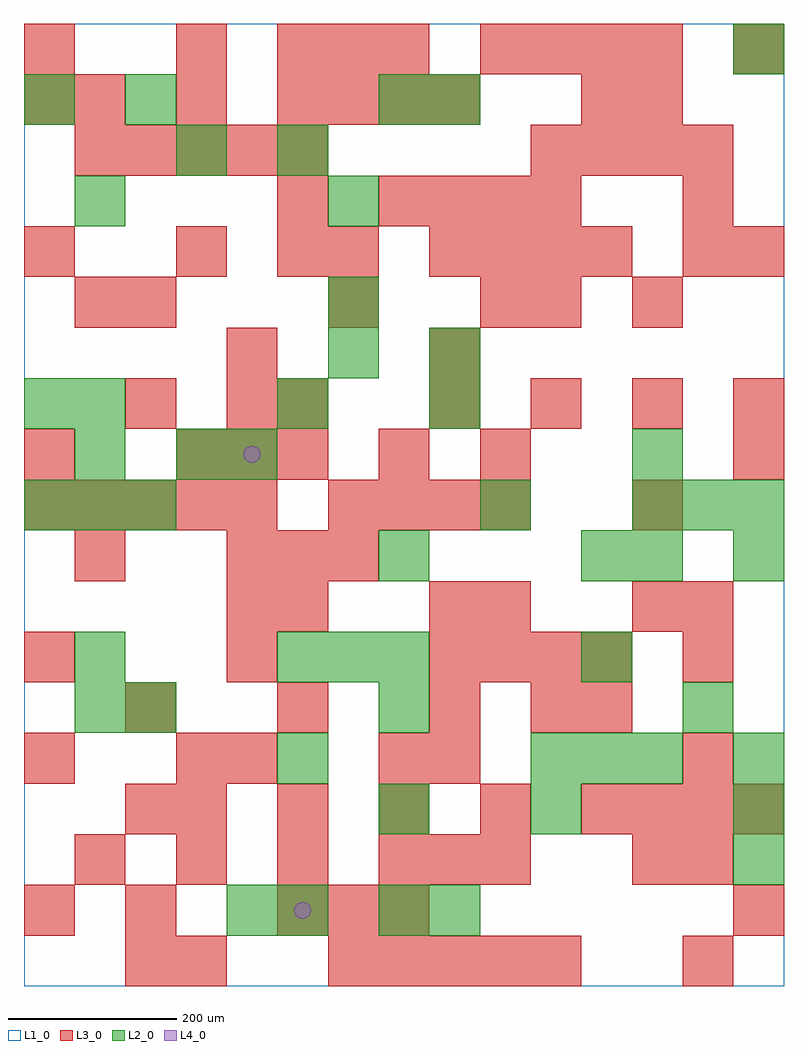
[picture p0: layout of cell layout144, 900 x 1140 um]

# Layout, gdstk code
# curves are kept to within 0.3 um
import gdstk
lib = gdstk.Library(unit=1e-6, precision=1e-09)
def R(c, l, rs):  # rectangles x0, y0, x1, y1
    for r in rs: c.add(gdstk.rectangle(r[:2], r[2:], *l))
def A(c, l, x, y, w, h, nx, ny, dx, dy):  # array of equal rectangles
    R(c, l, [(x+i*dx, y+j*dy, x+i*dx+w, y+j*dy+h) for i in range(nx) for j in range(ny)])
def P(c, l, *ps):  # polygons
    for p in ps: c.add(gdstk.Polygon(p, *l))
L1_0 = (1, 0)
L2_0 = (2, 0)
L3_0 = (3, 0)
L4_0 = (4, 0)

layout144 = lib.new_cell('layout144')
R(layout144, L1_0, [(0,0,900,1140)])
A(layout144, L2_0, 420, 60, 60, 60, 1, 3, 0, 120)
A(layout144, L2_0, 840, 120, 60, 60, 1, 3, 0, 60)
A(layout144, L2_0, 600, 240, 60, 60, 3, 1, 60, 0)
A(layout144, L2_0, 300, 360, 60, 60, 3, 1, 60, 0)
A(layout144, L2_0, 0, 540, 60, 60, 3, 1, 60, 0)
A(layout144, L2_0, 720, 540, 60, 60, 3, 1, 60, 0)
R(layout144, L2_0, [(240,60,300,120), (300,60,360,120), (480,60,540,120), (600,180,660,240), (300,240,360,300), (60,300,120,360), (120,300,180,360), (780,300,840,360), (60,360,120,420), (660,360,720,420), (420,480,480,540), (660,480,720,540), (720,480,780,540), (840,480,900,540), (540,540,600,600), (60,600,120,660), (180,600,240,660), (240,600,300,660), (720,600,780,660), (0,660,60,720), (60,660,120,720), (300,660,360,720), (480,660,540,720), (360,720,420,780), (480,720,540,780), (360,780,420,840), (60,900,120,960), (360,900,420,960), (180,960,240,1020), (300,960,360,1020), (0,1020,60,1080), (120,1020,180,1080), (420,1020,480,1080), (480,1020,540,1080), (840,1080,900,1140)])
A(layout144, L3_0, 360, 0, 60, 60, 5, 1, 60, 0)
A(layout144, L3_0, 780, 0, 60, 60, 1, 4, 0, 120)
A(layout144, L3_0, 300, 60, 60, 60, 3, 2, 60, 1020)
A(layout144, L3_0, 60, 120, 60, 60, 4, 1, 120, 0)
A(layout144, L3_0, 180, 180, 60, 60, 5, 1, 120, 0)
A(layout144, L3_0, 720, 180, 60, 60, 3, 1, 60, 0)
A(layout144, L3_0, 120, 300, 60, 60, 3, 1, 180, 0)
A(layout144, L3_0, 0, 360, 60, 60, 3, 1, 240, 0)
A(layout144, L3_0, 540, 360, 60, 60, 3, 1, 60, 0)
A(layout144, L3_0, 540, 420, 60, 60, 1, 3, 0, 180)
A(layout144, L3_0, 240, 480, 60, 60, 3, 1, 60, 0)
A(layout144, L3_0, 0, 540, 60, 60, 5, 1, 60, 0)
A(layout144, L3_0, 360, 540, 60, 60, 4, 1, 60, 0)
A(layout144, L3_0, 720, 540, 60, 60, 1, 3, 0, 240)
A(layout144, L3_0, 180, 600, 60, 60, 3, 1, 60, 0)
A(layout144, L3_0, 840, 600, 60, 60, 1, 3, 0, 240)
A(layout144, L3_0, 480, 660, 60, 60, 4, 1, 120, 0)
A(layout144, L3_0, 480, 840, 60, 60, 4, 1, 60, 0)
A(layout144, L3_0, 420, 900, 60, 60, 4, 1, 60, 0)
A(layout144, L3_0, 60, 960, 60, 60, 5, 1, 60, 0)
A(layout144, L3_0, 600, 960, 60, 60, 4, 1, 60, 0)
A(layout144, L3_0, 60, 1020, 60, 60, 3, 1, 120, 0)
A(layout144, L3_0, 360, 1020, 60, 60, 3, 1, 60, 0)
A(layout144, L3_0, 540, 1080, 60, 60, 4, 1, 60, 0)
R(layout144, L3_0, [(120,0,180,60), (180,0,240,60), (0,60,60,120), (120,60,180,120), (840,60,900,120), (480,120,540,180), (540,120,600,180), (720,120,780,180), (120,180,180,240), (0,240,60,300), (180,240,240,300), (240,240,300,300), (420,240,480,300), (480,240,540,300), (600,300,660,360), (660,300,720,360), (240,420,300,480), (300,420,360,480), (480,420,540,480), (720,420,780,480), (780,420,840,480), (60,480,120,540), (0,600,60,660), (420,600,480,660), (120,660,180,720), (240,660,300,720), (300,660,360,720), (240,720,300,780), (480,720,540,780), (60,780,120,840), (120,780,180,840), (360,780,420,840), (600,780,660,840), (0,840,60,900), (180,840,240,900), (300,840,360,900), (360,840,420,900), (780,840,840,900), (300,900,360,960), (780,900,840,960), (0,1020,60,1080), (660,1020,720,1080), (0,1080,60,1140), (180,1080,240,1140)])
P(layout144, L4_0, [(280,630),(279.239,633.827),(277.071,637.071),(273.827,639.239),(270,640),(266.173,639.239),(262.929,637.071),(260.761,633.827),(260,630),(260.761,626.173),(262.929,622.929),(266.173,620.761),(270,620),(273.827,620.761),(277.071,622.929),(279.239,626.173)],
  [(340,90),(339.239,93.827),(337.071,97.071),(333.827,99.239),(330,100),(326.173,99.239),(322.929,97.071),(320.761,93.827),(320,90),(320.761,86.173),(322.929,82.929),(326.173,80.761),(330,80),(333.827,80.761),(337.071,82.929),(339.239,86.173)])

lib.write_gds('layout144.gds')
